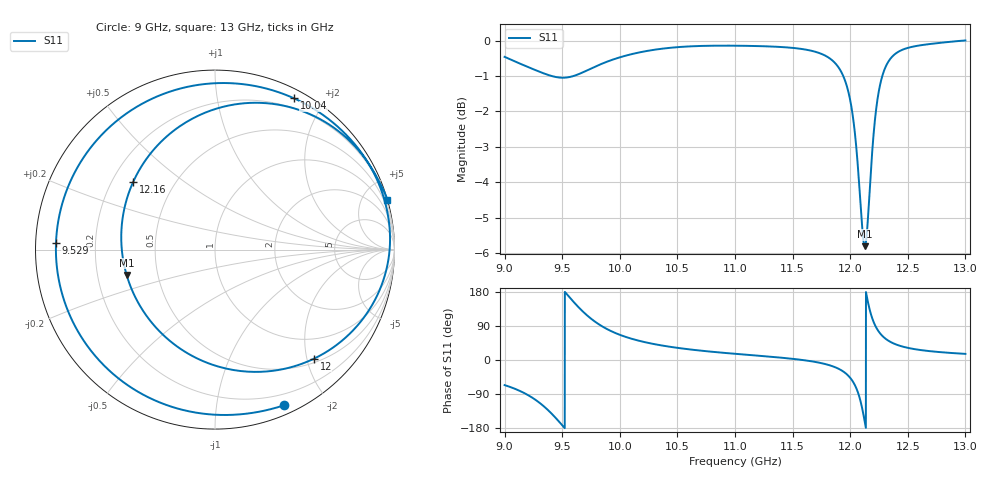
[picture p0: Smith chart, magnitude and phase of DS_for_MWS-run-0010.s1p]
! TOUCHSTONE file generated by CST DESIGN STUDIO
! Date and time: Tue Feb  4 14:26:55 2025
! Project name: C:\Work\MatlabApps\UnitCellOptimizationMatlab\CST\unitcell.cst
! Tree item: Tasks\Sweep1\SPara1\S-Parameters
! Header version: 2024
! Port assignment regex: !\s*Touchstone port\s*([0-9]+)\s*=\s*(CST MWS port|CST DES external port|CST DES block port)\s*(.+)\s* \(\"(.*)\"\)(\s*mode\s*([0-9]+))?.*
! Touchstone port assignment:
! Touchstone port 1 = CST DES external port 1 ("")
# GHz S MA R 50
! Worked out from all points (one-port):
!   4001 points, 9 GHz to 13 GHz, reference 50 ohm
!   lowest |S11| = -5.8 dB at 12.13 GHz (marker M1), VSWR 3.10, Z = 16.4 - j6.29 ohm
!   |S11| at or under -10 dB: nowhere
!   S11 on the Smith chart (normalised r, x): 9 GHz: 0.09, -1.53; 9.529 GHz: 0.06, +0.02; 10.04 GHz: 0.09, +1.65; 12 GHz: 0.57, -2.13; 12.16 GHz: 0.29, +0.33; 13 GHz: -0.01, +7.04
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9  0.9486 -66.2
9.151  0.9253 -84.3
9.299  0.9043 -112.0
9.397  0.8924 -138.2
9.5  0.8863 -172.2
9.529  0.8866 177.6
9.637  0.8959 140.8
9.732  0.9103 113.6
9.842  0.9273 89.7
10  0.9471 66.5
10.037  0.9509 62.4
10.237  0.9671 45.8
10.5  0.979 32.1
11  0.9837 16.4
11.5  0.9767 3.1
11.851  0.9358 -16.9
11.938  0.8925 -30.0
12  0.8238 -47.0
12.002  0.8206 -47.8
12.073  0.6431 -90.8
12.099  0.5578 -120.5
12.127  0.5123 -164.0
12.163  0.5913 140.5
12.2  0.7275 102.8
12.244  0.8402 76.6
12.343  0.9401 48.8
12.5  0.9767 32.1
13  1.001 16.2
